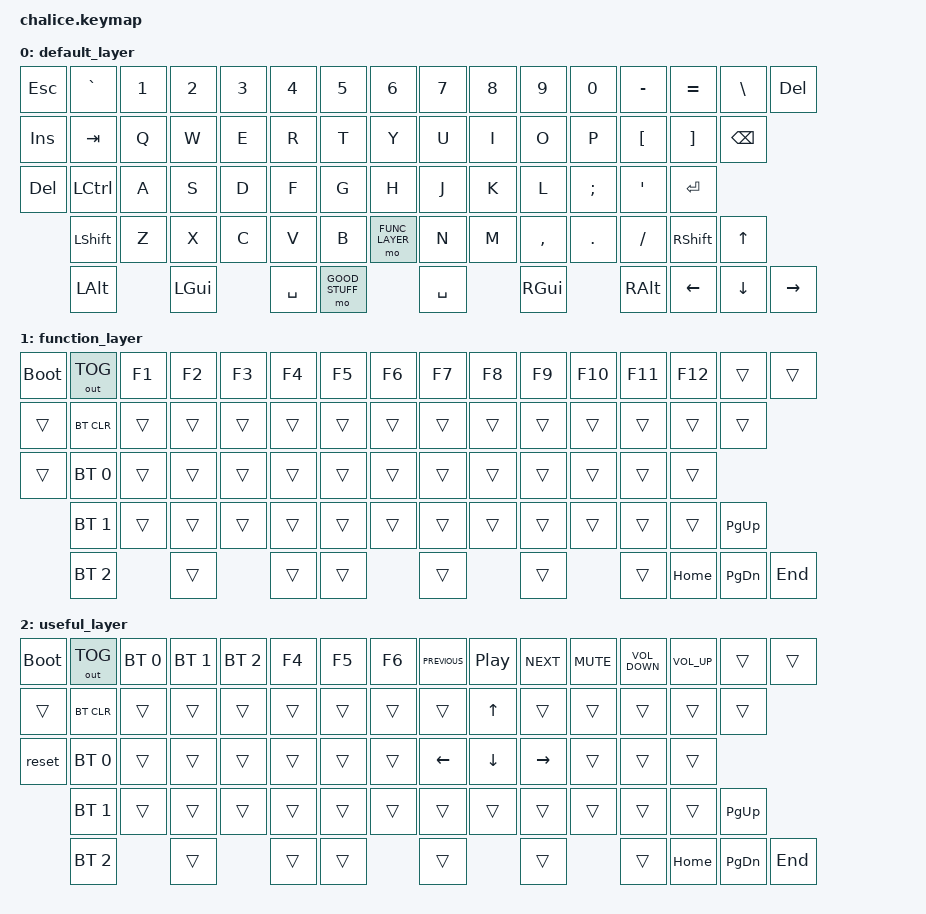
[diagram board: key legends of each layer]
/*
 * Copyright (c) 2021 The ZMK Contributors
 *
 * SPDX-License-Identifier: MIT
 */
 // TODO: Find out how to have custom named shields in ZMK

#include <behaviors.dtsi>
#include <dt-bindings/zmk/keys.h>
#include <dt-bindings/zmk/bt.h>
#include <dt-bindings/zmk/rgb.h>
#include <dt-bindings/zmk/outputs.h>

// CUSTOM VARIABLES
#define DEFAULT 0
#define FUNC_LAYER 1
#define GOOD_STUFF 2

/ {
        chosen { zmk,kscan = &kscan0; zmk,matrix_transform = &splitbs_transform; };
        keymap {
                compatible = "zmk,keymap";

                default_layer {

                        bindings = <
   &kp ESC         &kp GRAVE    &kp N1       &kp N2       &kp N3       &kp N4       &kp N5       &kp N6       &kp N7       &kp N8       &kp N9       &kp N0       &kp MINUS    &kp EQUAL    &kp BSLH     &kp DEL
   &kp INSERT      &kp TAB      &kp Q        &kp W        &kp E        &kp R        &kp T        &kp Y        &kp U        &kp I        &kp O        &kp P        &kp LBKT     &kp RBKT     &kp BSPC
   &kp DELETE      &kp LCTRL     &kp A        &kp S        &kp D        &kp F        &kp G        &kp H        &kp J        &kp K        &kp L        &kp SEMI     &kp SQT      &kp ENTER                    
                   &kp LSHFT    &kp Z        &kp X        &kp C        &kp V        &kp B        &mo FUNC_LAYER        &kp N        &kp M        &kp COMMA    &kp DOT      &kp SLASH    &kp RSHFT    &kp UP
                   &kp LALT                 &kp LGUI                  &kp SPACE    &mo GOOD_STUFF                     &kp SPACE                 &kp RGUI                  &kp RALT    &kp LEFT     &kp DOWN     &kp RIGHT 
                                >;
                        };

                function_layer {

                        bindings = <
   &bootloader     &out OUT_TOG &kp F1           &kp F2          &kp F3          &kp F4       &kp F5       &kp F6       &kp F7       &kp F8       &kp F9       &kp F10      &kp F11      &kp F12      &trans       &trans 
   &trans          &bt BT_CLR   &trans          &trans          &trans          &trans       &trans       &trans       &trans       &trans       &trans       &trans       &trans       &trans       &trans
   &trans          &bt BT_SEL 0 &trans          &trans          &trans           &trans       &trans       &trans       &trans       &trans       &trans       &trans       &trans       &trans 
                   &bt BT_SEL 1 &trans          &trans         &trans          &trans       &trans       &trans       &trans       &trans       &trans       &trans       &trans       &trans       &kp PG_UP
                   &bt BT_SEL 2                  &trans                          &trans       &trans                    &trans                    &trans                    &trans       &kp HOME     &kp PG_DN    &kp END 
                                >;
                        };
                
                useful_layer {

                        bindings = <
   &bootloader     &out OUT_TOG &bt BT_SEL 0    &bt BT_SEL 1    &bt BT_SEL 2    &kp F4       &kp F5       &kp F6       &kp C_PREVIOUS       &kp C_PLAY_PAUSE       &kp C_NEXT       &kp K_MUTE      &kp C_VOLUME_DOWN      &kp C_VOLUME_UP      &trans       &trans 
   &trans          &bt BT_CLR   &trans          &trans          &trans          &trans       &trans       &trans       &trans       &kp UP       &trans       &trans       &trans       &trans       &trans
   &reset          &bt BT_SEL 0 &trans          &trans          &trans          &trans       &trans       &trans       &kp LEFT       &kp DOWN       &kp RIGHT       &trans       &trans       &trans 
                   &bt BT_SEL 1 &trans          &trans          &trans          &trans       &trans       &trans       &trans       &trans       &trans       &trans       &trans       &trans       &kp PG_UP
                   &bt BT_SEL 2                  &trans                          &trans       &trans                    &trans                    &trans                    &trans       &kp HOME     &kp PG_DN    &kp END 
                                >;
                        };
        };
};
